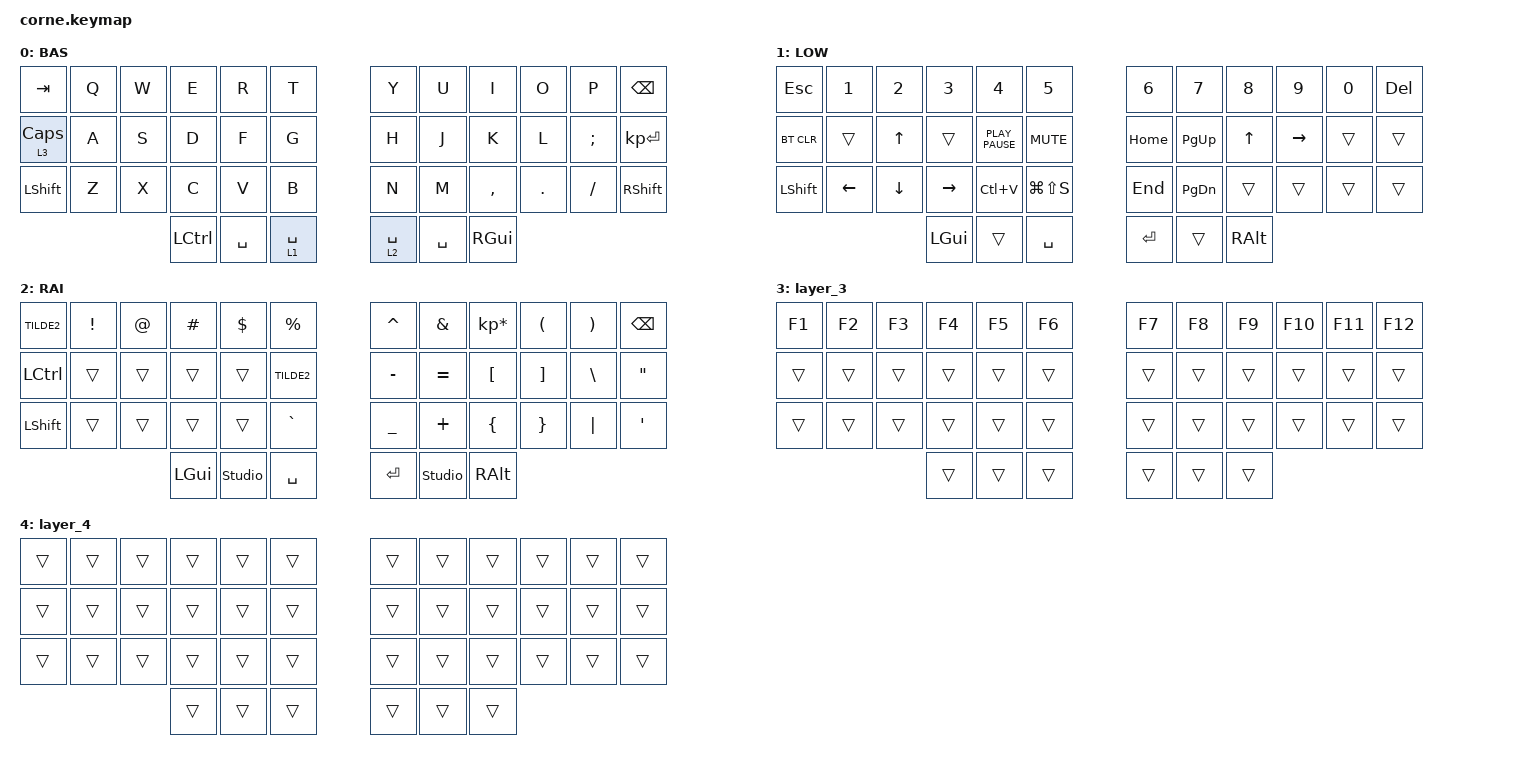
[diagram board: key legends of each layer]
/*
 * Copyright (c) 2020 The ZMK Contributors
 *
 * SPDX-License-Identifier: MIT
 */

#include <dt-bindings/led/led.h>
#include <dt-bindings/zmk/reset.h>
#include <behaviors.dtsi>
#include <dt-bindings/zmk/bt.h>
#include <dt-bindings/zmk/keys.h>

&led_strip { chain-length = <27>; };

/ {
    keymap {
        compatible = "zmk,keymap";

        default_layer {
            display-name = "BAS";

            // -----------------------------------------------------------------------------------------
            // |  TAB |  Q  |  W  |  E  |  R  |  T  |   |  Y  |  U   |  I  |  O  |  P  | BKSP |
            // | CTRL |  A  |  S  |  D  |  F  |  G  |   |  H  |  J   |  K  |  L  |  ;  |  '   |
            // | SHFT |  Z  |  X  |  C  |  V  |  B  |   |  N  |  M   |  ,  |  .  |  /  | ESC  |
            //                    | GUI | LWR | SPC |   | ENT | RSE  | ALT |

            bindings = <
&kp TAB     &kp Q  &kp W  &kp E      &kp R      &kp T          &kp Y        &kp U      &kp I      &kp O    &kp P     &kp BSPC
&lt 3 CAPS  &kp A  &kp S  &kp D      &kp F      &kp G          &kp H        &kp J      &kp K      &kp L    &kp SEMI  &kp KP_ENTER
&kp LSHFT   &kp Z  &kp X  &kp C      &kp V      &kp B          &kp N        &kp M      &kp COMMA  &kp DOT  &kp FSLH  &kp RIGHT_SHIFT
                          &kp LCTRL  &kp SPACE  &lt 1 SPACE    &lt 2 SPACE  &kp SPACE  &kp RGUI
            >;
        };

        lower_layer {
            display-name = "LOW";

            // -----------------------------------------------------------------------------------------
            // |  TAB |  1  |  2  |  3  |  4  |  5  |   |  6  |  7  |  8  |  9  |  0  | BKSP |
            // | BTCLR| BT1 | BT2 | BT3 | BT4 | BT5 |   | LFT | DWN |  UP | RGT |     |      |
            // | SHFT |     |     |     |     |     |   |     |     |     |     |     |      |
            //                    | GUI |     | SPC |   | ENT |     | ALT |

            bindings = <
&kp ESCAPE  &kp NUMBER_1    &kp NUMBER_2    &kp NUMBER_3  &kp NUMBER_4      &kp NUMBER_5     &kp N6    &kp N7         &kp N8    &kp N9     &kp N0  &kp DELETE
&bt BT_CLR  &trans          &kp UP_ARROW    &trans        &kp K_PLAY_PAUSE  &kp K_MUTE       &kp HOME  &kp PG_UP      &kp UP    &kp RIGHT  &trans  &trans
&kp LSHFT   &kp LEFT_ARROW  &kp DOWN_ARROW  &kp RIGHT     &kp LC(V)         &kp LG(LS(S))    &kp END   &kp PAGE_DOWN  &trans    &trans     &trans  &trans
                                            &kp LGUI      &trans            &kp SPACE        &kp RET   &trans         &kp RALT
            >;
        };

        raise_layer {
            display-name = "RAI";

            // -----------------------------------------------------------------------------------------
            // |  TAB |  !  |  @  |  #  |  $  |  %  |   |  ^  |  &  |  *  |  (  |  )  | BKSP |
            // | CTRL |     |     |     |     |     |   |  -  |  =  |  [  |  ]  |  \  |  `   |
            // | SHFT |     |     |     |     |     |   |  _  |  +  |  {  |  }  | "|" |  ~   |
            //                    | GUI |     | SPC |   | ENT |     | ALT |

            bindings = <
&kp TILDE2  &kp EXCL  &kp AT  &kp HASH  &kp DLLR        &kp PRCNT     &kp CARET  &kp AMPS        &kp KP_MULTIPLY  &kp LPAR  &kp RPAR  &kp BSPC
&kp LCTRL   &trans    &trans  &trans    &trans          &kp TILDE2    &kp MINUS  &kp EQUAL       &kp LBKT         &kp RBKT  &kp BSLH  &kp DOUBLE_QUOTES
&kp LSHFT   &trans    &trans  &trans    &trans          &kp GRAVE     &kp UNDER  &kp PLUS        &kp LBRC         &kp RBRC  &kp PIPE  &kp SINGLE_QUOTE
                              &kp LGUI  &studio_unlock  &kp SPACE     &kp RET    &studio_unlock  &kp RALT
            >;
        };

        layer_3 {
            bindings = <
&kp F1  &kp F2  &kp F3  &kp F4  &kp F5  &kp F6    &kp F7  &kp F8  &kp F9  &kp F10  &kp F11  &kp F12
&trans  &trans  &trans  &trans  &trans  &trans    &trans  &trans  &trans  &trans   &trans   &trans
&trans  &trans  &trans  &trans  &trans  &trans    &trans  &trans  &trans  &trans   &trans   &trans
                        &trans  &trans  &trans    &trans  &trans  &trans
            >;
        };

        layer_4 {
            bindings = <
&trans  &trans  &trans  &trans  &trans  &trans    &trans  &trans  &trans  &trans  &trans  &trans
&trans  &trans  &trans  &trans  &trans  &trans    &trans  &trans  &trans  &trans  &trans  &trans
&trans  &trans  &trans  &trans  &trans  &trans    &trans  &trans  &trans  &trans  &trans  &trans
                        &trans  &trans  &trans    &trans  &trans  &trans
            >;
        };
    };
};
